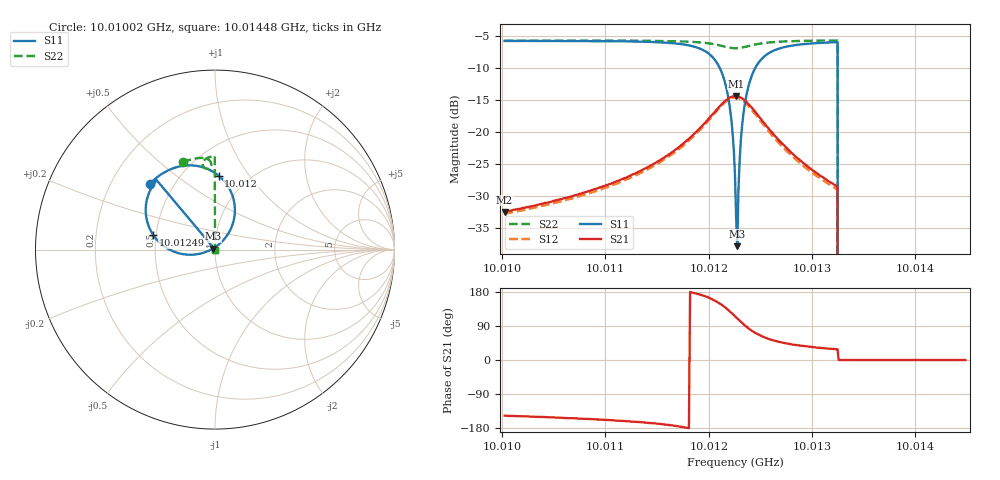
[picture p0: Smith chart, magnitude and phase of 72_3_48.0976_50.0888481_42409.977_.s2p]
#  HZ  S  RI  R  50.00
! Rohde & Schwarz Vector Network Analyzer
! Rohde-Schwarz,ZNB20-2Port,1311601062101988,3.16
! Created: UTC 12/23/2023, 3:41:51 AM
! freq[Hz]  re:S11  im:S11  re:S21  im:S21  re:S12  im:S12  re:S22  im:S22
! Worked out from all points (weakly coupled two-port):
!   401 points, 10.01002 GHz to 10.01448 GHz, reference 50 ohm
!   highest |S21| = -14.35 dB at 10.01227 GHz (marker M1); lowest = -32.5 dB at 10.01002 GHz (marker M2)
!   lowest |S11| = -37.8 dB at 10.01228 GHz (marker M3), VSWR 1.03, Z = 48.8 + j0.527 ohm
!   |S11| at or under -10 dB: 10.01211 GHz to 10.01245 GHz (341.6 kHz wide, 0.00341 % of centre); 10.01325 GHz to end of sweep
!   |S22| runs from - to -5.7 dB; largest |S21 - S12| = 0.0088
!   S11 on the Smith chart (normalised r, x): 10.01002 GHz: 0.37, +0.37; 10.012 GHz: 0.73, +0.73; 10.01249 GHz: 0.48, +0.09; 10.01448 GHz: 1.00, +0.00
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1.0010024e10  -0.3634 0.3668  -0.0199 -0.013  -0.0187 -0.0135  -0.1801 0.4867
1.0010771e10  -0.3078 0.4139  -0.0301 -0.0141  -0.0284 -0.0149  -0.1316 0.5023
1.0011518e10  -0.1995 0.4629  -0.0585 -0.0121  -0.0557 -0.0144  -0.0758 0.5109
1.0011998e10  0.02 0.4121  -0.1226 0.0333  -0.1206 0.0263  -0.0278 0.4939
1.0012098e10  0.092 0.3147  -0.1363 0.0773  -0.1369 0.0688  -0.0209 0.4778
1.0012176e10  0.1079 0.1816  -0.1272 0.1273  -0.1295 0.1197  -0.0248 0.4614
1.0012221e10  0.0769 0.0941  -0.1058 0.1565  -0.1092 0.1494  -0.0329 0.4538
1.0012232e10  0.0628 0.0727  -0.0981 0.163  -0.1025 0.1553  -0.0354 0.4527
1.0012254e10  0.0291 0.0353  -0.0816 0.1734  -0.0865 0.166  -0.041 0.4508
1.0012266e10  0.00934 0.0192  -0.0728 0.1773  -0.0776 0.1701  -0.0439 0.4508
1.0012277e10  -0.0117 0.00539  -0.0638 0.1801  -0.068 0.1734  -0.0466 0.4507
1.0012288e10  -0.0351 -0.00663  -0.054 0.1822  -0.0586 0.1756  -0.0497 0.4512
1.0012321e10  -0.1051 -0.0267  -0.0263 0.1827  -0.0304 0.1765  -0.0577 0.4546
1.0012355e10  -0.1739 -0.0262  -0.000281 0.1758  -0.00559 0.1698  -0.0636 0.4602
1.001241e10  -0.2678 0.00799  0.0318 0.1545  0.026 0.1495  -0.0685 0.4716
1.0012489e10  -0.3448 0.0823  0.0533 0.1206  0.0475 0.1169  -0.0671 0.4864
1.00127e10  -0.3853 0.2422  0.057 0.0603  0.0517 0.0596  -0.0483 0.5079
1.0013001e10  -0.3538 0.345  0.0419 0.0286  0.0386 0.0291  -0.0208 0.5178
1.0013224e10  -0.3275 0.3839  0.0338 0.0186  0.0311 0.0193  -0.00265 0.5207
1.001328e10  0 0  0 0  0 0  0 0
1.0013748e10  0 0  0 0  0 0  0 0
1.0014484e10  0 0  0 0  0 0  0 0
